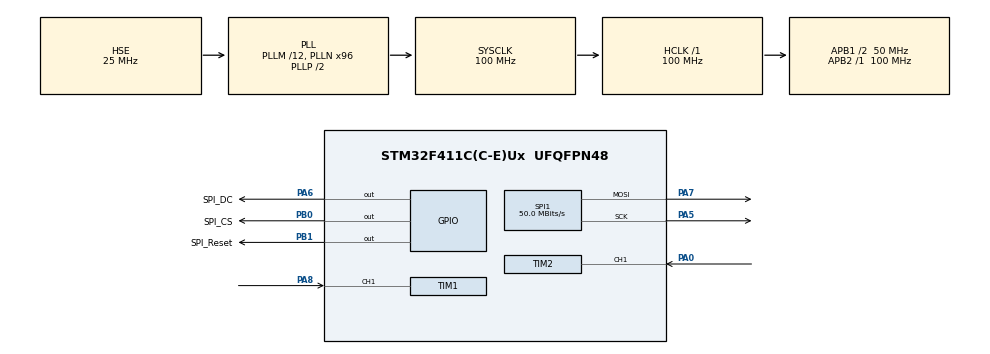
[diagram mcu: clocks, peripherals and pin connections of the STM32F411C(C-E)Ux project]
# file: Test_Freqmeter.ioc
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Dma.Request0=SPI1_TX
Dma.SPI1_TX.0.Direction=DMA_MEMORY_TO_PERIPH
Dma.SPI1_TX.0.FIFOMode=DMA_FIFOMODE_DISABLE
Dma.SPI1_TX.0.Instance=DMA2_Stream2
Dma.SPI1_TX.0.MemDataAlignment=DMA_MDATAALIGN_BYTE
Dma.SPI1_TX.0.MemInc=DMA_MINC_ENABLE
Dma.SPI1_TX.0.Mode=DMA_NORMAL
Dma.SPI1_TX.0.PeriphDataAlignment=DMA_PDATAALIGN_BYTE
Dma.SPI1_TX.0.PeriphInc=DMA_PINC_DISABLE
Dma.SPI1_TX.0.Priority=DMA_PRIORITY_LOW
Mcu.Family=STM32F4
Mcu.Name=STM32F411C(C-E)Ux
Mcu.Package=UFQFPN48
NVIC.DMA2_Stream2_IRQn=true\:0\:0\:false\:false\:true\:false\:true\:true
NVIC.PriorityGroup=NVIC_PRIORITYGROUP_4
NVIC.SPI1_IRQn=true\:0\:0\:false\:false\:true\:true\:true\:true
NVIC.TIM2_IRQn=true\:0\:0\:false\:false\:true\:true\:true\:true
NVIC.TIM3_IRQn=true\:0\:0\:false\:false\:true\:true\:true\:true
NVIC.TIM4_IRQn=true\:0\:0\:false\:false\:true\:true\:true\:true
PA0-WKUP.Signal=S_TIM2_CH1_ETR
PA13.Mode=Serial_Wire
PA13.Signal=SYS_JTMS-SWDIO
PA14.Mode=Serial_Wire
PA14.Signal=SYS_JTCK-SWCLK
PA5.Mode=TX_Only_Simplex_Unidirect_Master
PA5.Signal=SPI1_SCK
PA6.GPIO_Label=SPI_DC
PA6.Signal=GPIO_Output
PA7.Mode=TX_Only_Simplex_Unidirect_Master
PA7.Signal=SPI1_MOSI
PA8.Signal=S_TIM1_CH1
PB0.GPIO_Label=SPI_CS
PB0.Signal=GPIO_Output
PB1.GPIO_Label=SPI_Reset
PB1.Signal=GPIO_Output
PH0\ -\ OSC_IN.Mode=HSE-External-Oscillator
PH0\ -\ OSC_IN.Signal=RCC_OSC_IN
PH1\ -\ OSC_OUT.Mode=HSE-External-Oscillator
PH1\ -\ OSC_OUT.Signal=RCC_OSC_OUT
ProjectManager.HeapSize=0x200
ProjectManager.StackSize=0x400
ProjectManager.TargetToolchain=EWARM V8
RCC.48MHZClocksFreq_Value=50000000
RCC.AHBFreq_Value=100000000
RCC.APB1CLKDivider=RCC_HCLK_DIV2
RCC.APB1Freq_Value=50000000
RCC.APB1TimFreq_Value=100000000
RCC.APB2Freq_Value=100000000
RCC.APB2TimFreq_Value=100000000
RCC.CortexFreq_Value=100000000
RCC.HCLKFreq_Value=100000000
RCC.HSE_VALUE=25000000
RCC.HSI_VALUE=16000000
RCC.LSE_VALUE=32768
RCC.PLLM=12
RCC.PLLN=96
RCC.PLLSourceVirtual=RCC_PLLSOURCE_HSE
RCC.SYSCLKFreq_VALUE=100000000
RCC.SYSCLKSource=RCC_SYSCLKSOURCE_PLLCLK
RCC.VCOOutputFreq_Value=200000000
SH.S_TIM1_CH1.0=TIM1_CH1,TriggerSource_TI1FP1
SH.S_TIM2_CH1_ETR.0=TIM2_CH1,Input_Capture1_from_TI1
SPI1.CalculateBaudRate=50.0 MBits/s
SPI1.Direction=SPI_DIRECTION_2LINES
SPI1.Mode=SPI_MODE_MASTER
SPI1.VirtualType=VM_MASTER
TIM1.TIM_MasterOutputTrigger=TIM_TRGO_OC1
TIM2.Channel-Input_Capture1_from_TI1=TIM_CHANNEL_1
TIM2.ICFilter_CH1=10
TIM2.TIM_MasterOutputTrigger=TIM_TRGO_RESET
TIM4.TIM_MasterOutputTrigger=TIM_TRGO_OC1
VP_TIM1_VS_ControllerModeClock.Mode=Clock Mode
VP_TIM3_VS_ClockSourceITR.Mode=TriggerSource_ITR2
VP_TIM3_VS_ControllerModeTrigger.Mode=Trigger Mode
VP_TIM4_VS_ClockSourceINT.Mode=Internal
board=custom

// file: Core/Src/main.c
/* USER CODE BEGIN Header */
/**
  ******************************************************************************
  * @file           : main.c
  * @brief          : Main program body
  ******************************************************************************
  * @attention
  *
  * Copyright (c) 2023 STMicroelectronics.
  * All rights reserved.
  *
  * This software is licensed under terms that can be found in the LICENSE file
  * in the root directory of this software component.
  * If no LICENSE file comes with this software, it is provided AS-IS.
  *
  ******************************************************************************
  */
/* USER CODE END Header */
#include "main.h"

/* USER CODE BEGIN Includes */
#include "meter.h"
#include "math.h"
#include "stdio.h"
#include "ssd1306.h"
#include "fonts.h"
#include "filter_sma.h"
/* USER CODE END Includes */

SPI_HandleTypeDef hspi1;
DMA_HandleTypeDef hdma_spi1_tx;

TIM_HandleTypeDef htim1;
TIM_HandleTypeDef htim2;
TIM_HandleTypeDef htim3;
TIM_HandleTypeDef htim4;

/* USER CODE BEGIN PV */
float freq = 0;
char transmit_buffer[] = {0};
/* USER CODE END PV */

void SystemClock_Config(void);
static void MX_GPIO_Init(void);
static void MX_DMA_Init(void);
static void MX_TIM1_Init(void);
static void MX_TIM2_Init(void);
static void MX_TIM3_Init(void);
static void MX_TIM4_Init(void);
static void MX_SPI1_Init(void);

/* USER CODE BEGIN 0 */
float divider_nr = 0;

uint32_t rpm = 0;
/* USER CODE END 0 */

int main(void)
{

  /* MCU Configuration--------------------------------------------------------*/

  /* Reset of all peripherals, Initializes the Flash interface and the Systick. */
  HAL_Init();

  /* Configure the system clock */
  SystemClock_Config();

  /* Initialize all configured peripherals */
  MX_GPIO_Init();
  MX_DMA_Init();
  MX_TIM1_Init();
  MX_TIM2_Init();
  MX_TIM3_Init();
  MX_TIM4_Init();
  MX_SPI1_Init();
  /* USER CODE BEGIN 2 */
    SSD1306_Init();
    SSD1306_DrawRectangle(4, 5, 5, 4, SSD1306_PX_CLR_WHITE);
    SSD1306_UpdateScreen();
    fm_init();
    fm_start(20000, 10000, 5);  //240, 10000
    uint32_t cnt0=0;
  /* USER CODE END 2 */

  /* Infinite loop */
  /* USER CODE BEGIN WHILE */
  while (1)
  {

    uint32_t m, n, cnt, c0;
    if(get_result(m, n, cnt, c0)&&cnt0!=cnt)
    {
       cnt0=cnt;
       freq = m;
       rpm = round((freq * 60)/10);
       // float f=(float)SystemCoreClock*m/n;
    }
    SSD1306_Clear();
    sprintf((char*)transmit_buffer, "%d", /*MedianFilter(*/rpm/*)*/);
    SSD1306_GotoXY(0,5);
    SSD1306_Puts((char*)transmit_buffer, &Font_16x26, SSD1306_PX_CLR_WHITE);
    SSD1306_UpdateScreen();
    /* USER CODE END WHILE */

  }
}

void SystemClock_Config(void)
{
  RCC_OscInitTypeDef RCC_OscInitStruct = {0};
  RCC_ClkInitTypeDef RCC_ClkInitStruct = {0};

  /** Configure the main internal regulator output voltage
  */
  __HAL_RCC_PWR_CLK_ENABLE();
  __HAL_PWR_VOLTAGESCALING_CONFIG(PWR_REGULATOR_VOLTAGE_SCALE1);

  /** Initializes the RCC Oscillators according to the specified parameters
  * in the RCC_OscInitTypeDef structure.
  */
  RCC_OscInitStruct.OscillatorType = RCC_OSCILLATORTYPE_HSE;
  RCC_OscInitStruct.HSEState = RCC_HSE_ON;
  RCC_OscInitStruct.PLL.PLLState = RCC_PLL_ON;
  RCC_OscInitStruct.PLL.PLLSource = RCC_PLLSOURCE_HSE;
  RCC_OscInitStruct.PLL.PLLM = 12;
  RCC_OscInitStruct.PLL.PLLN = 96;
  RCC_OscInitStruct.PLL.PLLP = RCC_PLLP_DIV2;
  RCC_OscInitStruct.PLL.PLLQ = 4;
  if (HAL_RCC_OscConfig(&RCC_OscInitStruct) != HAL_OK)
  {
    Error_Handler();
  }

  /** Initializes the CPU, AHB and APB buses clocks
  */
  RCC_ClkInitStruct.ClockType = RCC_CLOCKTYPE_HCLK|RCC_CLOCKTYPE_SYSCLK
                              |RCC_CLOCKTYPE_PCLK1|RCC_CLOCKTYPE_PCLK2;
  RCC_ClkInitStruct.SYSCLKSource = RCC_SYSCLKSOURCE_PLLCLK;
  RCC_ClkInitStruct.AHBCLKDivider = RCC_SYSCLK_DIV1;
  RCC_ClkInitStruct.APB1CLKDivider = RCC_HCLK_DIV2;
  RCC_ClkInitStruct.APB2CLKDivider = RCC_HCLK_DIV1;

  if (HAL_RCC_ClockConfig(&RCC_ClkInitStruct, FLASH_LATENCY_3) != HAL_OK)
  {
    Error_Handler();
  }
}

static void MX_SPI1_Init(void)
{

  /* SPI1 parameter configuration*/
  hspi1.Instance = SPI1;
  hspi1.Init.Mode = SPI_MODE_MASTER;
  hspi1.Init.Direction = SPI_DIRECTION_2LINES;
  hspi1.Init.DataSize = SPI_DATASIZE_8BIT;
  hspi1.Init.CLKPolarity = SPI_POLARITY_LOW;
  hspi1.Init.CLKPhase = SPI_PHASE_1EDGE;
  hspi1.Init.NSS = SPI_NSS_SOFT;
  hspi1.Init.BaudRatePrescaler = SPI_BAUDRATEPRESCALER_2;
  hspi1.Init.FirstBit = SPI_FIRSTBIT_MSB;
  hspi1.Init.TIMode = SPI_TIMODE_DISABLE;
  hspi1.Init.CRCCalculation = SPI_CRCCALCULATION_DISABLE;
  hspi1.Init.CRCPolynomial = 10;
  if (HAL_SPI_Init(&hspi1) != HAL_OK)
  {
    Error_Handler();
  }

}

static void MX_TIM1_Init(void)
{

  TIM_SlaveConfigTypeDef sSlaveConfig = {0};
  TIM_MasterConfigTypeDef sMasterConfig = {0};

  htim1.Instance = TIM1;
  htim1.Init.Prescaler = 0;
  htim1.Init.CounterMode = TIM_COUNTERMODE_UP;
  htim1.Init.Period = 65535;
  htim1.Init.ClockDivision = TIM_CLOCKDIVISION_DIV1;
  htim1.Init.RepetitionCounter = 0;
  htim1.Init.AutoReloadPreload = TIM_AUTORELOAD_PRELOAD_DISABLE;
  if (HAL_TIM_Base_Init(&htim1) != HAL_OK)
  {
    Error_Handler();
  }
  sSlaveConfig.SlaveMode = TIM_SLAVEMODE_EXTERNAL1;
  sSlaveConfig.InputTrigger = TIM_TS_TI1FP1;
  sSlaveConfig.TriggerPolarity = TIM_TRIGGERPOLARITY_RISING;
  sSlaveConfig.TriggerFilter = 0;
  if (HAL_TIM_SlaveConfigSynchro(&htim1, &sSlaveConfig) != HAL_OK)
  {
    Error_Handler();
  }
  sMasterConfig.MasterOutputTrigger = TIM_TRGO_OC1;
  sMasterConfig.MasterSlaveMode = TIM_MASTERSLAVEMODE_DISABLE;
  if (HAL_TIMEx_MasterConfigSynchronization(&htim1, &sMasterConfig) != HAL_OK)
  {
    Error_Handler();
  }

}

static void MX_TIM2_Init(void)
{

  TIM_MasterConfigTypeDef sMasterConfig = {0};
  TIM_IC_InitTypeDef sConfigIC = {0};

  htim2.Instance = TIM2;
  htim2.Init.Prescaler = 0;
  htim2.Init.CounterMode = TIM_COUNTERMODE_UP;
  htim2.Init.Period = 4294967295;
  htim2.Init.ClockDivision = TIM_CLOCKDIVISION_DIV1;
  htim2.Init.AutoReloadPreload = TIM_AUTORELOAD_PRELOAD_DISABLE;
  if (HAL_TIM_IC_Init(&htim2) != HAL_OK)
  {
    Error_Handler();
  }
  sMasterConfig.MasterOutputTrigger = TIM_TRGO_RESET;
  sMasterConfig.MasterSlaveMode = TIM_MASTERSLAVEMODE_DISABLE;
  if (HAL_TIMEx_MasterConfigSynchronization(&htim2, &sMasterConfig) != HAL_OK)
  {
    Error_Handler();
  }
  sConfigIC.ICPolarity = TIM_INPUTCHANNELPOLARITY_RISING;
  sConfigIC.ICSelection = TIM_ICSELECTION_DIRECTTI;
  sConfigIC.ICPrescaler = TIM_ICPSC_DIV1;
  sConfigIC.ICFilter = 10;
  if (HAL_TIM_IC_ConfigChannel(&htim2, &sConfigIC, TIM_CHANNEL_1) != HAL_OK)
  {
    Error_Handler();
  }

}

static void MX_TIM3_Init(void)
{

  TIM_SlaveConfigTypeDef sSlaveConfig = {0};
  TIM_MasterConfigTypeDef sMasterConfig = {0};

  htim3.Instance = TIM3;
  htim3.Init.Prescaler = 0;
  htim3.Init.CounterMode = TIM_COUNTERMODE_UP;
  htim3.Init.Period = 65535;
  htim3.Init.ClockDivision = TIM_CLOCKDIVISION_DIV1;
  htim3.Init.AutoReloadPreload = TIM_AUTORELOAD_PRELOAD_DISABLE;
  if (HAL_TIM_Base_Init(&htim3) != HAL_OK)
  {
    Error_Handler();
  }
  sSlaveConfig.SlaveMode = TIM_SLAVEMODE_TRIGGER;
  sSlaveConfig.InputTrigger = TIM_TS_ITR2;
  if (HAL_TIM_SlaveConfigSynchro(&htim3, &sSlaveConfig) != HAL_OK)
  {
    Error_Handler();
  }
  sMasterConfig.MasterOutputTrigger = TIM_TRGO_RESET;
  sMasterConfig.MasterSlaveMode = TIM_MASTERSLAVEMODE_DISABLE;
  if (HAL_TIMEx_MasterConfigSynchronization(&htim3, &sMasterConfig) != HAL_OK)
  {
    Error_Handler();
  }

}

static void MX_TIM4_Init(void)
{

  TIM_ClockConfigTypeDef sClockSourceConfig = {0};
  TIM_MasterConfigTypeDef sMasterConfig = {0};

  htim4.Instance = TIM4;
  htim4.Init.Prescaler = 0;
  htim4.Init.CounterMode = TIM_COUNTERMODE_UP;
  htim4.Init.Period = 65535;
  htim4.Init.ClockDivision = TIM_CLOCKDIVISION_DIV1;
  htim4.Init.AutoReloadPreload = TIM_AUTORELOAD_PRELOAD_DISABLE;
  if (HAL_TIM_Base_Init(&htim4) != HAL_OK)
  {
    Error_Handler();
  }
  sClockSourceConfig.ClockSource = TIM_CLOCKSOURCE_INTERNAL;
  if (HAL_TIM_ConfigClockSource(&htim4, &sClockSourceConfig) != HAL_OK)
  {
    Error_Handler();
  }
  sMasterConfig.MasterOutputTrigger = TIM_TRGO_OC1;
  sMasterConfig.MasterSlaveMode = TIM_MASTERSLAVEMODE_DISABLE;
  if (HAL_TIMEx_MasterConfigSynchronization(&htim4, &sMasterConfig) != HAL_OK)
  {
    Error_Handler();
  }

}

static void MX_DMA_Init(void)
{

  /* DMA controller clock enable */
  __HAL_RCC_DMA2_CLK_ENABLE();

  /* DMA interrupt init */
  /* DMA2_Stream2_IRQn interrupt configuration */
  HAL_NVIC_SetPriority(DMA2_Stream2_IRQn, 0, 0);
  HAL_NVIC_EnableIRQ(DMA2_Stream2_IRQn);

}

static void MX_GPIO_Init(void)
{
  GPIO_InitTypeDef GPIO_InitStruct = {0};

  /* GPIO Ports Clock Enable */
  __HAL_RCC_GPIOH_CLK_ENABLE();
  __HAL_RCC_GPIOA_CLK_ENABLE();
  __HAL_RCC_GPIOB_CLK_ENABLE();

  /*Configure GPIO pin Output Level */
  HAL_GPIO_WritePin(SPI_DC_GPIO_Port, SPI_DC_Pin, GPIO_PIN_RESET);

  /*Configure GPIO pin Output Level */
  HAL_GPIO_WritePin(GPIOB, SPI_CS_Pin|SPI_Reset_Pin, GPIO_PIN_RESET);

  /*Configure GPIO pin : SPI_DC_Pin */
  GPIO_InitStruct.Pin = SPI_DC_Pin;
  GPIO_InitStruct.Mode = GPIO_MODE_OUTPUT_PP;
  GPIO_InitStruct.Pull = GPIO_NOPULL;
  GPIO_InitStruct.Speed = GPIO_SPEED_FREQ_LOW;
  HAL_GPIO_Init(SPI_DC_GPIO_Port, &GPIO_InitStruct);

  /*Configure GPIO pins : SPI_CS_Pin SPI_Reset_Pin */
  GPIO_InitStruct.Pin = SPI_CS_Pin|SPI_Reset_Pin;
  GPIO_InitStruct.Mode = GPIO_MODE_OUTPUT_PP;
  GPIO_InitStruct.Pull = GPIO_NOPULL;
  GPIO_InitStruct.Speed = GPIO_SPEED_FREQ_LOW;
  HAL_GPIO_Init(GPIOB, &GPIO_InitStruct);

}

void Error_Handler(void)
{
  __disable_irq();
  while (1)
  {
  }
}
